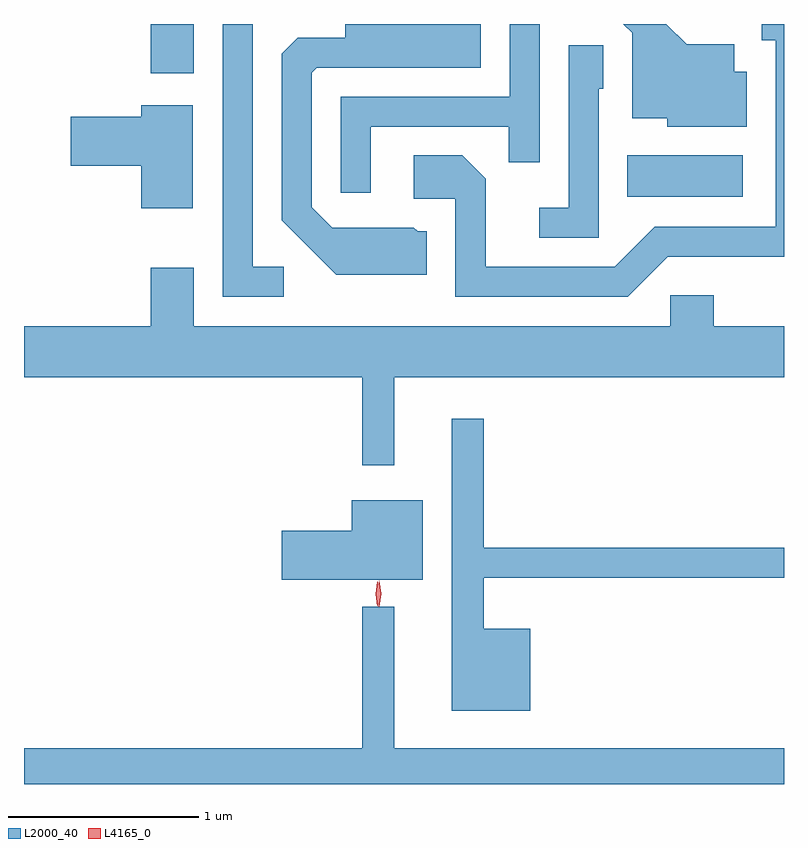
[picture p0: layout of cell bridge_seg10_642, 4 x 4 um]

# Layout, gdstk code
import gdstk
lib = gdstk.Library(unit=1e-6, precision=1e-09)
def R(c, l, rs):  # rectangles x0, y0, x1, y1
    for r in rs: c.add(gdstk.rectangle(r[:2], r[2:], *l))
def P(c, l, *ps):  # polygons
    for p in ps: c.add(gdstk.Polygon(p, *l))
L2000_40 = (2000, 40)
L4165_0 = (4165, 0)

bridge_seg10_642 = lib.new_cell('bridge_seg10_642')
R(bridge_seg10_642, L2000_40, [(861.286,2139.286,861.894,2139.504), (858.776,2139.936,859.004,2140.196)])
P(bridge_seg10_642, L2000_40, [(861.497,2138.971),(862.11,2138.971),(862.11,2140.196),(861.993,2140.196),(861.993,2140.111),(862.066,2140.111),(862.066,2139.129),(861.429,2139.129),(861.219,2138.919),(860.539,2138.919),(860.539,2139.382),(860.417,2139.504),(860.161,2139.504),(860.161,2139.276),(860.381,2139.276),(860.381,2138.761),(861.287,2138.761)],
  [(859.934,2139.656),(860.661,2139.656),(860.661,2139.468),(860.824,2139.468),(860.824,2140.196),(860.666,2140.196),(860.666,2139.814),(859.776,2139.814),(859.776,2139.308),(859.934,2139.308)],
  [(861.914,2139.944),(861.849,2139.944),(861.849,2140.089),(861.597,2140.089),(861.49,2140.196),(861.264,2140.196),(861.311,2140.149),(861.311,2139.701),(861.496,2139.701),(861.496,2139.656),(861.914,2139.656)],
  [(860.229,2139.104),(860.182,2139.104),(860.162,2139.124),(859.732,2139.124),(859.624,2139.232),(859.624,2139.939),(859.652,2139.966),(860.514,2139.966),(860.514,2140.194),(860.429,2140.194),(860.429,2140.196),(859.801,2140.196),(859.801,2140.124),(859.552,2140.124),(859.466,2140.039),(859.466,2139.164),(859.754,2138.876),(860.229,2138.876)],
  [(859.478,2138.919),(859.314,2138.919),(859.314,2140.196),(859.156,2140.196),(859.156,2138.761),(859.478,2138.761)],
  [(861.134,2139.856),(861.159,2139.856),(861.159,2140.084),(860.976,2140.084),(860.976,2139.229),(860.823,2139.229),(860.823,2139.071),(861.134,2139.071)],
  [(858.999,2139.769),(858.726,2139.769),(858.726,2139.709),(858.356,2139.709),(858.356,2139.451),(858.726,2139.451),(858.726,2139.226),(858.999,2139.226)],
  [(860.059,2138.336),(862.11,2138.336),(862.11,2138.604),(861.739,2138.604),(861.739,2138.769),(861.511,2138.769),(861.511,2138.604),(859.004,2138.604),(859.004,2138.914),(858.776,2138.914),(858.776,2138.604),(858.11,2138.604),(858.11,2138.336),(859.891,2138.336),(859.891,2137.873),(860.059,2137.873)],
  [(860.774,2137.014),(860.529,2137.014),(860.529,2137.281),(862.11,2137.281),(862.11,2137.439),(860.529,2137.439),(860.529,2138.118),(860.361,2138.118),(860.361,2136.581),(860.774,2136.581)],
  [(860.209,2137.689),(859.836,2137.689),(859.836,2137.529),(859.466,2137.529),(859.466,2137.271),(860.209,2137.271)],
  [(862.11,2136.384),(860.059,2136.384),(860.059,2137.128),(859.891,2137.128),(859.891,2136.384),(858.11,2136.384),(858.11,2136.196),(862.11,2136.196)])
P(bridge_seg10_642, L4165_0, [(859.97,2137.133),(859.96,2137.196),(859.97,2137.26),(859.97,2137.26),(859.971,2137.26),(859.98,2137.196),(859.971,2137.133),(859.971,2137.133)],
  [(859.978,2137.13),(859.978,2137.13),(859.969,2137.198),(859.979,2137.265),(859.98,2137.266),(859.98,2137.265),(859.989,2137.198),(859.979,2137.13)])

lib.write_gds('bridge_seg10_642.gds')
